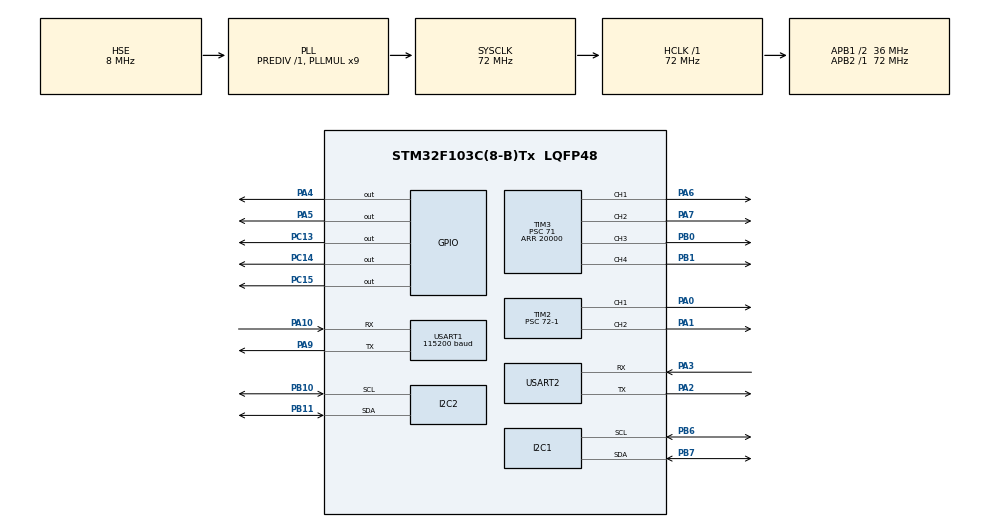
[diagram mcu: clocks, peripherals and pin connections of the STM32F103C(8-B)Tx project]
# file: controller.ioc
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Dma.Request0=USART1_RX
Dma.Request1=USART2_RX
Dma.USART1_RX.0.Direction=DMA_PERIPH_TO_MEMORY
Dma.USART1_RX.0.Instance=DMA1_Channel5
Dma.USART1_RX.0.MemDataAlignment=DMA_MDATAALIGN_BYTE
Dma.USART1_RX.0.MemInc=DMA_MINC_ENABLE
Dma.USART1_RX.0.Mode=DMA_NORMAL
Dma.USART1_RX.0.PeriphDataAlignment=DMA_PDATAALIGN_BYTE
Dma.USART1_RX.0.PeriphInc=DMA_PINC_DISABLE
Dma.USART1_RX.0.Priority=DMA_PRIORITY_MEDIUM
Dma.USART2_RX.1.Direction=DMA_PERIPH_TO_MEMORY
Dma.USART2_RX.1.Instance=DMA1_Channel6
Dma.USART2_RX.1.MemDataAlignment=DMA_MDATAALIGN_BYTE
Dma.USART2_RX.1.MemInc=DMA_MINC_ENABLE
Dma.USART2_RX.1.Mode=DMA_NORMAL
Dma.USART2_RX.1.PeriphDataAlignment=DMA_PDATAALIGN_BYTE
Dma.USART2_RX.1.PeriphInc=DMA_PINC_DISABLE
Dma.USART2_RX.1.Priority=DMA_PRIORITY_MEDIUM
Mcu.Family=STM32F1
Mcu.Name=STM32F103C(8-B)Tx
Mcu.Package=LQFP48
NVIC.DMA1_Channel5_IRQn=true\:0\:0\:false\:false\:true\:false\:true\:true
NVIC.DMA1_Channel6_IRQn=true\:0\:0\:false\:false\:true\:false\:true\:true
NVIC.I2C1_ER_IRQn=true\:0\:0\:false\:false\:true\:true\:true\:true
NVIC.I2C1_EV_IRQn=true\:0\:0\:false\:false\:true\:true\:true\:true
NVIC.I2C2_ER_IRQn=true\:0\:0\:false\:false\:true\:true\:true\:true
NVIC.I2C2_EV_IRQn=true\:0\:0\:false\:false\:true\:true\:true\:true
NVIC.PriorityGroup=NVIC_PRIORITYGROUP_4
NVIC.TIM4_IRQn=true\:0\:0\:false\:false\:true\:true\:true\:true
NVIC.USART1_IRQn=true\:0\:0\:false\:false\:true\:true\:true\:true
PA0-WKUP.Signal=S_TIM2_CH1_ETR
PA1.Signal=S_TIM2_CH2
PA10.Mode=Asynchronous
PA10.Signal=USART1_RX
PA13.Mode=Serial_Wire
PA13.Signal=SYS_JTMS-SWDIO
PA14.Mode=Serial_Wire
PA14.Signal=SYS_JTCK-SWCLK
PA2.Mode=Asynchronous
PA2.Signal=USART2_TX
PA3.Mode=Asynchronous
PA3.Signal=USART2_RX
PA4.Signal=GPIO_Output
PA5.Signal=GPIO_Output
PA6.Signal=S_TIM3_CH1
PA7.Signal=S_TIM3_CH2
PA9.Mode=Asynchronous
PA9.Signal=USART1_TX
PB0.Signal=S_TIM3_CH3
PB1.Signal=S_TIM3_CH4
PB10.Mode=I2C
PB10.Signal=I2C2_SCL
PB11.Mode=I2C
PB11.Signal=I2C2_SDA
PB6.Mode=I2C
PB6.Signal=I2C1_SCL
PB7.Mode=I2C
PB7.Signal=I2C1_SDA
PC13-TAMPER-RTC.Signal=GPIO_Output
PC14-OSC32_IN.Signal=GPIO_Output
PC15-OSC32_OUT.Signal=GPIO_Output
PD0-OSC_IN.Mode=HSE-External-Oscillator
PD0-OSC_IN.Signal=RCC_OSC_IN
PD1-OSC_OUT.Mode=HSE-External-Oscillator
PD1-OSC_OUT.Signal=RCC_OSC_OUT
ProjectManager.HeapSize=0x200
ProjectManager.StackSize=0x400
ProjectManager.TargetToolchain=STM32CubeIDE
RCC.AHBFreq_Value=72000000
RCC.APB1CLKDivider=RCC_HCLK_DIV2
RCC.APB1Freq_Value=36000000
RCC.APB1TimFreq_Value=72000000
RCC.APB2Freq_Value=72000000
RCC.APB2TimFreq_Value=72000000
RCC.HCLKFreq_Value=72000000
RCC.PLLMUL=RCC_PLL_MUL9
RCC.PLLSourceVirtual=RCC_PLLSOURCE_HSE
RCC.SYSCLKFreq_VALUE=72000000
RCC.SYSCLKSource=RCC_SYSCLKSOURCE_PLLCLK
RCC.USBFreq_Value=72000000
SH.S_TIM2_CH1_ETR.0=TIM2_CH1,PWM Generation1 CH1
SH.S_TIM2_CH2.0=TIM2_CH2,PWM Generation2 CH2
SH.S_TIM3_CH1.0=TIM3_CH1,PWM Generation1 CH1
SH.S_TIM3_CH2.0=TIM3_CH2,PWM Generation2 CH2
SH.S_TIM3_CH3.0=TIM3_CH3,PWM Generation3 CH3
SH.S_TIM3_CH4.0=TIM3_CH4,PWM Generation4 CH4
TIM1.Channel-PWM\ Generation2\ CH2=TIM_CHANNEL_2
TIM1.Channel-PWM\ Generation3\ CH3=TIM_CHANNEL_3
TIM1.Period=20000
TIM1.Prescaler=72-1
TIM2.AutoReloadPreload=TIM_AUTORELOAD_PRELOAD_ENABLE
TIM2.Channel-PWM\ Generation1\ CH1=TIM_CHANNEL_1
TIM2.Channel-PWM\ Generation2\ CH2=TIM_CHANNEL_2
TIM2.Period=1000-1
TIM2.Prescaler=72-1
TIM3.Channel-PWM\ Generation1\ CH1=TIM_CHANNEL_1
TIM3.Channel-PWM\ Generation2\ CH2=TIM_CHANNEL_2
TIM3.Channel-PWM\ Generation3\ CH3=TIM_CHANNEL_3
TIM3.Channel-PWM\ Generation4\ CH4=TIM_CHANNEL_4
TIM3.Period=20000
TIM3.Prescaler=71
TIM4.Period=999
TIM4.Prescaler=71
USART1.BaudRate=115200
USART1.VirtualMode=VM_ASYNC
USART2.VirtualMode=VM_ASYNC
VP_TIM1_VS_ClockSourceINT.Mode=Internal
VP_TIM2_VS_ClockSourceINT.Mode=Internal
VP_TIM4_VS_ClockSourceINT.Mode=Internal
board=custom

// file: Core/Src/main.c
/* USER CODE BEGIN Header */
/**
 ******************************************************************************
 * @file           : main.c
 * @brief          : STM32 Drone Flight Controller (Final Stable Version)
 ******************************************************************************
 */
/* USER CODE END Header */
#include "main.h"
#include "dma.h"
#include "i2c.h"
#include "tim.h"
#include "usart.h"
#include "gpio.h"

/* USER CODE BEGIN Includes */
#include <stdio.h>
#include "string.h"
#include <stdint.h>
#include <stdlib.h>
#include <math.h>
#include <inttypes.h>
#include <stdatomic.h>
#include <stdbool.h>

float vz_pid_integ = 0.0f;
float vz_pid_prev_err = 0.0f;

// 硬體定義
#define PCA9685_ADDR 0x80
#define BMX160_ADDR  (0x68u << 1)
#define MODE1 0x00
#define PRESCALE 0xFE
#define LED0_ON_L 0x06
#define PWM_MIN 1000
#define PWM_MAX 2000

// 全域旗標
volatile uint8_t i2c2_busy = 0;
volatile uint8_t data_ready_flag = 0;
volatile uint8_t cmd_received_flag = 0;
static uint32_t last_cmd_time = 0;

// 緩衝區
#define RX_BUF_SIZE 64
#define ALT_BUF_SIZE 128
uint8_t rx_buffer[RX_BUF_SIZE];
uint8_t rx_alt_buffer[ALT_BUF_SIZE];
char cmd_string[RX_BUF_SIZE];
char alt_data_str[ALT_BUF_SIZE];
static uint8_t imu_buf[20];

// 結構體
typedef struct {
	uint32_t t_ms;
	int16_t ax, ay, az;
	int16_t gx, gy, gz;
	int16_t mx, my, mz;
} imu_sample_t;

typedef struct {
	float angle;
	float bias;
	float P[2][2];
	float Q_angle;
	float Q_bias;
	float R_meas;
} Kalman_t;

typedef struct {
	float roll;
	float pitch;
	float yaw;
	bool biasLocked;
} AHRS_State_t;

typedef struct {
	float xm_1[3];
	float xm_2[3];
	float e_integral[3];
	float prev_error[3];
	float Kp[3];
	float Ki[3];
	float Kd[3];
} MRAC_State_t;

// 全域變數
static volatile imu_sample_t g_latest;
static Kalman_t KF_Roll, KF_Pitch, KF_Yaw;
static AHRS_State_t current_att;
static MRAC_State_t mrac_state;

// 物理參數
#define DRONE_MASS_KG   2.0f
#define GRAVITY_ACCEL   9.81f
#define MAX_THRUST_N    29.42f
#define MIN_THRUST_N    0.0f
#define ACC_LSB_PER_G   16384.0f
#define GYR_LSB_PER_DPS 16.4f

const float IX = 0.0095f;
const float IY = 0.0095f;
const float IZ = 0.0190f;

// 馬達參數
const float MOTOR_M[4] = { 964.308f, 958.89f, 986.08f, 959.01f };
const float MOTOR_C[4] = { -21.41f, -212.51f, -217.69f, -210.12f };

// 混合矩陣參數
const float MIX_A = 0.25f;
const float MIX_B = 0.25f / 0.13505f;
const float MIX_C = 0.25f / 0.08257f;
const float MIX_D = 0.25f / 0.019677f;

// 控制變數
char modetype[15];
float g_rc_roll_stick = 0.0f;
float g_rc_pitch_stick = 0.0f;
float g_rc_throttle_stick = 0.0f;

float g_est_vx = 0.0f, g_est_vy = 0.0f; // 速度估測

volatile int32_t distance_mm = 0;
float estimated_z = 0.0f, estimated_vz = 0.0f;
float target_vz = 0.0f, current_lock_height = 0.0f;

float g_cmd_phi_rad = 0.0f, g_cmd_theta_rad = 0.0f;
float target_roll = 0.0f, target_pitch = 0.0f, target_yaw = 0.0f;
float g_target_rate[3];
float g_u_vec[3];

// 濾波變數
static float last_gx = 0, last_gy = 0, last_gz = 0;
static float gx_sum = 0, gy_sum = 0, gz_sum = 0;
static float b_gx = 0, b_gy = 0, b_gz = 0;
static int bias_counter = 0;
static float roll_offset = 0, pitch_offset = 0, yaw_offset = 0;

// MRAC 參數
const float MRAC_WN[3] = { 10.0f, 5.0f, 5.0f };
const float MRAC_ZETA[3] = { 0.707f, 0.707f, 0.707f };
const float GAM_P[3] = { 0.01f, 0.01f, 0.01f };
const float GAM_I[3] = { 0.01f, 0.01f, 0.01f };
const float GAM_D[3] = { 0.001f, 0.001f, 0.001f };
const float KP_INIT[3] = {80.0f, 80.0f, 10.0f};
const float KI_INIT[3] = {150.0f, 150.0f, 0.1f};
const float KD_INIT[3] = {0.2f, 0.2f, 0.05f};
const float KP_MAX[3] = { 10000.0f, 10000.0f, 10000.0f };
const float KP_MIN[3] = { 0.01f, 0.01f, 0.01f };
const float KI_MAX[3] = { 10000.0f, 10000.0f, 10000.0f };
const float KI_MIN[3] = { 0.0f, 0.0f, 0.0f };
const float KD_MAX[3] = { 1000.0f, 1000.0f, 500.0f };
const float KD_MIN[3] = { 0.0f, 0.0f, 0.0f };

// 高度參數
#define ALT_DEADZONE 0.02f
#define MAX_CLIMB_RATE 2.0f
#define KP_Z_OUTER 1.0f
#define VZ_KP 2.0f
#define VZ_KI 1.0f
#define VZ_KD 0.0f

// Handles
extern I2C_HandleTypeDef hi2c1;
extern I2C_HandleTypeDef hi2c2;
extern UART_HandleTypeDef huart1;
extern UART_HandleTypeDef huart2;
extern TIM_HandleTypeDef htim1;
extern TIM_HandleTypeDef htim2;
extern TIM_HandleTypeDef htim3;
extern TIM_HandleTypeDef htim4;

/* USER CODE END PV */

void SystemClock_Config(void);
/* USER CODE BEGIN PFP */
void MX_USART1_UART_Init(void);
void MX_USART2_UART_Init(void);
/* USER CODE END PFP */

/* USER CODE BEGIN 0 */
static float wrapTo180(float angle) {
	while (angle > 180.0f)
		angle -= 360.0f;
	while (angle < -180.0f)
		angle += 360.0f;
	return angle;
}
float fconstrain(float val, float min, float max) {
	if (val > max)
		return max;
	if (val < min)
		return min;
	return val;
}
float LowPassFilter(float new_val, float prev_val, float dt, float cutoff_freq) {
	float rc = 1.0f / (6.2831853f * cutoff_freq);
	float alpha = dt / (rc + dt);
	return prev_val + alpha * (new_val - prev_val);
}

// 初始化函式
void PCA9685_Init(I2C_HandleTypeDef *hi2c) {
	uint8_t d[2];
	d[0] = MODE1;
	d[1] = 0x00;
	HAL_I2C_Master_Transmit(hi2c, PCA9685_ADDR, d, 2, 100);
	HAL_Delay(10);
	d[0] = MODE1;
	d[1] = 0x10;
	HAL_I2C_Master_Transmit(hi2c, PCA9685_ADDR, d, 2, 100);
	d[0] = PRESCALE;
	d[1] = 121;
	HAL_I2C_Master_Transmit(hi2c, PCA9685_ADDR, d, 2, 100);
	d[0] = MODE1;
	d[1] = 0x00;
	HAL_I2C_Master_Transmit(hi2c, PCA9685_ADDR, d, 2, 100);
	HAL_Delay(5);
	d[0] = MODE1;
	d[1] = 0x20;
	HAL_I2C_Master_Transmit(hi2c, PCA9685_ADDR, d, 2, 100);
}
void PCA9685_SetPWM(I2C_HandleTypeDef *hi2c, uint8_t channel, uint16_t on,
		uint16_t off) {
	uint8_t data[5];
	data[0] = LED0_ON_L + 4 * channel;
	data[1] = on & 0xFF;
	data[2] = on >> 8;
	data[3] = off & 0xFF;
	data[4] = off >> 8;
	HAL_I2C_Master_Transmit(hi2c, PCA9685_ADDR, data, 5, HAL_MAX_DELAY);
}
void PCA9685_SetServoAngle(I2C_HandleTypeDef *hi2c, uint8_t channel,
		float angle) {
	uint16_t pulse = 205 + (uint16_t) (angle / 180.0f * 205.0f);
	PCA9685_SetPWM(hi2c, channel, 0, pulse);
}
void ESC_SetPWM(uint32_t Channel, uint16_t us) {
	__HAL_TIM_SET_COMPARE(&htim3, Channel, us);
}
void ESC_Calibrate(void) {
	HAL_TIM_PWM_Start(&htim3, TIM_CHANNEL_1);
	HAL_TIM_PWM_Start(&htim3, TIM_CHANNEL_2);
	HAL_TIM_PWM_Start(&htim3, TIM_CHANNEL_3);
	HAL_TIM_PWM_Start(&htim3, TIM_CHANNEL_4);
	ESC_SetPWM(TIM_CHANNEL_1, 2000);
	ESC_SetPWM(TIM_CHANNEL_2, 2000);
	ESC_SetPWM(TIM_CHANNEL_3, 2000);
	ESC_SetPWM(TIM_CHANNEL_4, 2000);
	HAL_Delay(3000);
	ESC_SetPWM(TIM_CHANNEL_1, 1000);
	ESC_SetPWM(TIM_CHANNEL_2, 1000);
	ESC_SetPWM(TIM_CHANNEL_3, 1000);
	ESC_SetPWM(TIM_CHANNEL_4, 1000);
	HAL_Delay(3000);
}
void BMX160_EnableSensors(I2C_HandleTypeDef *hi2c) {
	uint8_t d[2];
	d[0] = 0x7E;
	d[1] = 0xB6;
	HAL_I2C_Master_Transmit(hi2c, BMX160_ADDR, d, 2, 100);
	HAL_Delay(100);
	d[0] = 0x7E;
	d[1] = 0x11;
	HAL_I2C_Master_Transmit(hi2c, BMX160_ADDR, d, 2, 100);
	HAL_Delay(50);
	d[0] = 0x7E;
	d[1] = 0x15;
	HAL_I2C_Master_Transmit(hi2c, BMX160_ADDR, d, 2, 100);
	HAL_Delay(50);
	d[0] = 0x7E;
	d[1] = 0x19;
	HAL_I2C_Master_Transmit(hi2c, BMX160_ADDR, d, 2, 100);
	HAL_Delay(10);
	d[0] = 0x44;
	d[1] = 0x05;
	HAL_I2C_Master_Transmit(hi2c, BMX160_ADDR, d, 2, 100);
	d[0] = 0x4C;
	d[1] = 0x80;
	HAL_I2C_Master_Transmit(hi2c, BMX160_ADDR, d, 2, 100);
	d[0] = 0x4F;
	d[1] = 0x01;
	HAL_I2C_Master_Transmit(hi2c, BMX160_ADDR, d, 2, 100);
	d[0] = 0x4E;
	d[1] = 0x4B;
	HAL_I2C_Master_Transmit(hi2c, BMX160_ADDR, d, 2, 100);
	d[0] = 0x4F;
	d[1] = 0x00;
	HAL_I2C_Master_Transmit(hi2c, BMX160_ADDR, d, 2, 100);
	d[0] = 0x4E;
	d[1] = 0x4C;
	HAL_I2C_Master_Transmit(hi2c, BMX160_ADDR, d, 2, 100);
	d[0] = 0x4E;
	d[1] = 0x42;
	HAL_I2C_Master_Transmit(hi2c, BMX160_ADDR, d, 2, 100);
	d[0] = 0x4C;
	d[1] = 0x00;
	HAL_I2C_Master_Transmit(hi2c, BMX160_ADDR, d, 2, 100);
	HAL_Delay(50);
}
void MotorLeft_SetSpeed(uint8_t speed_percent) {
	if (speed_percent > 100)
		speed_percent = 100;
	__HAL_TIM_SET_COMPARE(&htim2, TIM_CHANNEL_1, speed_percent * 10);
}
void MotorRight_SetSpeed(uint8_t speed_percent) {
	if (speed_percent > 100)
		speed_percent = 100;
	__HAL_TIM_SET_COMPARE(&htim2, TIM_CHANNEL_2, speed_percent * 10);
}
void Motor_SetDirection(uint8_t dir, int velocity) {
	MotorLeft_SetSpeed(velocity);
	MotorRight_SetSpeed(velocity);
	HAL_GPIO_WritePin(GPIOA, GPIO_PIN_4, (dir == 3 || dir == 4));
	HAL_GPIO_WritePin(GPIOA, GPIO_PIN_5, (dir == 1 || dir == 2));
	HAL_GPIO_WritePin(GPIOC, GPIO_PIN_14, (dir == 1 || dir == 2));
	HAL_GPIO_WritePin(GPIOC, GPIO_PIN_15, (dir == 3 || dir == 4));
	if (dir == 0) { // Stop
		HAL_GPIO_WritePin(GPIOA, GPIO_PIN_4, 0);
		HAL_GPIO_WritePin(GPIOA, GPIO_PIN_5, 0);
		HAL_GPIO_WritePin(GPIOC, GPIO_PIN_14, 0);
		HAL_GPIO_WritePin(GPIOC, GPIO_PIN_15, 0);
	}
}

// 控制邏輯
void Kalman_Init(Kalman_t *kf, float q_ang, float q_bias, float r) {
	kf->angle = 0;
	kf->bias = 0;
	kf->Q_angle = q_ang;
	kf->Q_bias = q_bias;
	kf->R_meas = r;
	kf->P[0][0] = 0.1f;
	kf->P[0][1] = 0;
	kf->P[1][0] = 0;
	kf->P[1][1] = 0.1f;
}
void MRAC_Init(void) {
	for (int i = 0; i < 3; i++) {
		mrac_state.xm_1[i] = 0;
		mrac_state.xm_2[i] = 0;
		mrac_state.e_integral[i] = 0;
		mrac_state.prev_error[i] = 0;
		mrac_state.Kp[i] = KP_INIT[i];
		mrac_state.Ki[i] = KI_INIT[i];
		mrac_state.Kd[i] = KD_INIT[i];
	}
}
void Estimate_Horizontal_Velocity(int16_t ax_raw, int16_t ay_raw,
		float roll_deg, float pitch_deg, float dt) {
	float ax_g = ax_raw / ACC_LSB_PER_G;
	float ay_g = ay_raw / ACC_LSB_PER_G;
	float rad_roll = roll_deg * 0.0174533f;
	float rad_pitch = pitch_deg * 0.0174533f;
	float acc_motion_x = (ax_g - (-sinf(rad_pitch))) * 9.81f;
	float acc_motion_y = (ay_g - (sinf(rad_roll))) * 9.81f;
	if (fabsf(acc_motion_x) < 0.2f)
		acc_motion_x = 0;
	if (fabsf(acc_motion_y) < 0.2f)
		acc_motion_y = 0;
	g_est_vx += acc_motion_x * dt;
	g_est_vy += acc_motion_y * dt;
	g_est_vx *= 0.99f;
	g_est_vy *= 0.99f;
}
void Kalman_Step(Kalman_t *kf, float gyro_rate, float meas_angle, float dt,
bool useMeas) {
	float rate = gyro_rate - kf->bias;
	kf->angle += rate * dt;
	kf->angle = wrapTo180(kf->angle);
	float P00 = kf->P[0][0], P01 = kf->P[0][1], P10 = kf->P[1][0], P11 =
			kf->P[1][1];
	kf->P[0][0] = P00 - dt * (P10 + P01) + dt * dt * P11 + kf->Q_angle;
	kf->P[0][1] = P01 - dt * P11;
	kf->P[1][0] = P10 - dt * P11;
	kf->P[1][1] = P11 + kf->Q_bias;
	if (useMeas) {
		float y = wrapTo180(meas_angle - kf->angle);
		float S = kf->P[0][0] + kf->R_meas;
		float K0 = kf->P[0][0] / S, K1 = kf->P[1][0] / S;
		kf->angle += K0 * y;
		kf->bias += K1 * y;
		kf->angle = wrapTo180(kf->angle);
		float P00_t = kf->P[0][0], P01_t = kf->P[0][1];
		kf->P[0][0] -= K0 * P00_t;
		kf->P[0][1] -= K0 * P01_t;
		kf->P[1][0] -= K1 * P00_t;
		kf->P[1][1] -= K1 * P01_t;
	}
}
void AHRS_Update(float ax_raw, float ay_raw, float az_raw, float gx_raw,
		float gy_raw, float gz_raw, float mx_raw, float my_raw, float mz_raw,
		float dt) {
	float ax = ax_raw / ACC_LSB_PER_G, ay = ay_raw / ACC_LSB_PER_G, az = az_raw
			/ ACC_LSB_PER_G;
	float gx = gx_raw / GYR_LSB_PER_DPS, gy = gy_raw / GYR_LSB_PER_DPS, gz =
			gz_raw / GYR_LSB_PER_DPS;
	if (!current_att.biasLocked) {
		gx_sum += gx;
		gy_sum += gy;
		gz_sum += gz;
		bias_counter++;
		if (bias_counter >= 300) {
			b_gx = gx_sum / bias_counter;
			b_gy = gy_sum / bias_counter;
			b_gz = gz_sum / bias_counter;
			current_att.biasLocked = true;
			KF_Roll.bias = b_gx;
			KF_Pitch.bias = b_gy;
			KF_Yaw.bias = b_gz;
		}
		return;
	}
	float gx_c = gx - b_gx, gy_c = gy - b_gy, gz_c = gz - b_gz;
	float roll_acc = atan2f(ay, az) * 57.29578f;
	float pitch_acc = atan2f(-ax, sqrtf(ay * ay + az * az)) * 57.29578f;
	bool useAcc = fabsf(sqrtf(ax * ax + ay * ay + az * az) - 1.0f) < 0.5f;
	Kalman_Step(&KF_Roll, gx_c, roll_acc, dt, useAcc);
	Kalman_Step(&KF_Pitch, gy_c, pitch_acc, dt, useAcc);
	KF_Yaw.angle += gz_c * dt;
	current_att.roll = wrapTo180(KF_Roll.angle - roll_offset);
	current_att.pitch = wrapTo180(KF_Pitch.angle - pitch_offset);
	current_att.yaw = wrapTo180(KF_Yaw.angle - yaw_offset);
}
void AHRS_SetOrigin(void) {
	roll_offset = KF_Roll.angle;
	pitch_offset = KF_Pitch.angle;
	yaw_offset = KF_Yaw.angle;
}

void XY_Logic_Controller_Update(float roll_stick, float pitch_stick, float vx,
		float vy) {
	float theta_cmd = 0, phi_cmd = 0;
	if (fabsf(pitch_stick) > 0.02f)
		theta_cmd = pitch_stick * 0.5f;
	else
		theta_cmd = (0.0f - vx) * 0.2f;

	if (fabsf(roll_stick) > 0.02f)
		phi_cmd = -1.0f * roll_stick * 0.5f;
	else
		phi_cmd = (0.0f - vy) * 0.2f * -1.0f;
	g_cmd_theta_rad = fconstrain(theta_cmd, -0.5f, 0.5f);
	g_cmd_phi_rad = fconstrain(phi_cmd, -0.5f, 0.5f);
}

void MRAC_Compute(float cmd_roll, float cmd_pitch, float cmd_yaw, float gx,
		float gy, float gz, float dt) {
	float cmd[3] = { cmd_roll, cmd_pitch, cmd_yaw };
	float act[3] = { gx, gy, gz };
	for (int i = 0; i < 3; i++) {
		float u_model = MRAC_WN[i] * MRAC_WN[i] * cmd[i];
		float dxm2 = -2.0f * MRAC_ZETA[i] * MRAC_WN[i] * mrac_state.xm_2[i]
				- MRAC_WN[i] * MRAC_WN[i] * mrac_state.xm_1[i] + u_model;
		mrac_state.xm_2[i] += dxm2 * dt;
		mrac_state.xm_1[i] += mrac_state.xm_2[i] * dt;
		float e_track = act[i] - mrac_state.xm_1[i];
		float e_ctrl = cmd[i] - act[i];
		mrac_state.e_integral[i] = fconstrain(
				mrac_state.e_integral[i] + e_ctrl * dt, -10, 10);
		float phi_d = (e_ctrl - mrac_state.prev_error[i]) / dt;
		mrac_state.prev_error[i] = e_ctrl;
		mrac_state.Kp[i] = fconstrain(
				mrac_state.Kp[i] - GAM_P[i] * e_track * e_ctrl * dt, KP_MIN[i],
				KP_MAX[i]);
		mrac_state.Ki[i] = fconstrain(
				mrac_state.Ki[i]
						- GAM_I[i] * e_track * mrac_state.e_integral[i] * dt,
				KI_MIN[i], KI_MAX[i]);
		mrac_state.Kd[i] = fconstrain(
				mrac_state.Kd[i] - GAM_D[i] * e_track * phi_d * dt, KD_MIN[i],
				KD_MAX[i]);
		g_u_vec[i] = mrac_state.Kp[i] * e_ctrl
				+ mrac_state.Ki[i] * mrac_state.e_integral[i]
				+ mrac_state.Kd[i] * phi_d;
	}
}

void Height_estimator(int16_t acc_z_raw, int32_t baro_mm, float phi,
		float theta, float dt) {
	float acc_z = ((float) acc_z_raw / ACC_LSB_PER_G) * 9.81f;
	float alt_m = (float) baro_mm / 1000.0f;
	float acc_earth = (acc_z * cosf(phi * 0.017f) * cosf(theta * 0.017f))
			- 9.81f;
	float z_pred = estimated_z + estimated_vz * dt;
	float vz_pred = estimated_vz + acc_earth * dt;
	float z_err = alt_m - z_pred;
	estimated_z = z_pred + 2.0f * z_err * dt;
	estimated_vz = vz_pred + 0.2f * z_err * dt;
}

void Alt_Logic(float stick, float dt) {
	if (fabsf(stick) > ALT_DEADZONE) {
		target_vz = stick * MAX_CLIMB_RATE;
		current_lock_height = estimated_z;
	} else {
		float err = current_lock_height - estimated_z;
		target_vz = fconstrain(err * KP_Z_OUTER, -MAX_CLIMB_RATE,
		MAX_CLIMB_RATE);
	}
}

float Vel_PID(float target, float current, float dt) {
	float err = target - current;
	vz_pid_integ = fconstrain(vz_pid_integ + VZ_KI * err * dt, -10, 10);
	float d = (err - vz_pid_prev_err) / dt;
	vz_pid_prev_err = err;
	float acc_cmd = VZ_KP * err + vz_pid_integ + VZ_KD * d;
	float force = acc_cmd * DRONE_MASS_KG + DRONE_MASS_KG * 9.81f;
	return fconstrain(force, MIN_THRUST_N, MAX_THRUST_N);
}

void Control_Mixer_Advanced(float U1, float U2, float U3, float U4) {
	float T[4];
	T[0] = MIX_A * U1 + MIX_B * U2 - MIX_C * U3 + MIX_D * U4;
	T[1] = MIX_A * U1 - MIX_B * U2 + MIX_C * U3 + MIX_D * U4;
	T[2] = MIX_A * U1 - MIX_B * U2 - MIX_C * U3 - MIX_D * U4;
	T[3] = MIX_A * U1 + MIX_B * U2 + MIX_C * U3 - MIX_D * U4;

	float max_t = T[0];
	for (int i = 1; i < 4; i++)
		if (T[i] > max_t)
			max_t = T[i];
	float excess = max_t - MAX_THRUST_N;
	if (excess > 0)
		for (int i = 0; i < 4; i++)
			T[i] -= excess;
	for (int i = 0; i < 4; i++)
		T[i] = fconstrain(T[i], 0, MAX_THRUST_N);

	uint16_t pwm[4];
	for (int i = 0; i < 4; i++) {
		float g_force = (T[i] / 9.81f) * 1000.0f;
		float ratio =
				(MOTOR_M[i] != 0) ? (g_force - MOTOR_C[i]) / MOTOR_M[i] : 0;
		pwm[i] = (uint16_t) (1000 + fconstrain(ratio, 0, 1) * 1000);
	}
	ESC_SetPWM(TIM_CHANNEL_1, pwm[0]);
	ESC_SetPWM(TIM_CHANNEL_2, pwm[1]);
	ESC_SetPWM(TIM_CHANNEL_3, pwm[2]);
	ESC_SetPWM(TIM_CHANNEL_4, pwm[3]);
	char dbg[64];
	    int len = snprintf(dbg, sizeof(dbg),
	                       "PWM: %u %u %u %u\r\n",
	                       (unsigned)pwm[0],
	                       (unsigned)pwm[1],
	                       (unsigned)pwm[2],
	                       (unsigned)pwm[3]);
	    HAL_UART_Transmit(&huart1, (uint8_t*)dbg, len, 50);
}
/* USER CODE END 0 */

int main(void) {
	/* USER CODE BEGIN 1 */
	Kalman_Init(&KF_Roll, 0.001f, 0.003f, 0.25f);
	Kalman_Init(&KF_Pitch, 0.001f, 0.003f, 0.25f);
	Kalman_Init(&KF_Yaw, 0.001f, 0.003f, 4.0f);
	current_att.biasLocked = false;
	/* USER CODE END 1 */

	/* MCU Configuration */
	HAL_Init();
	SystemClock_Config();
	MX_GPIO_Init();
	MX_DMA_Init();
	MX_I2C1_Init();
	MX_TIM1_Init();
	MX_TIM4_Init();
	MX_TIM2_Init();
	MX_USART2_UART_Init();
	MX_I2C2_Init();
	MX_TIM3_Init();
	MX_USART1_UART_Init();

	/* USER CODE BEGIN 2 */
	HAL_TIM_PWM_Start(&htim2, TIM_CHANNEL_1);
	HAL_TIM_PWM_Start(&htim2, TIM_CHANNEL_2);
	PCA9685_Init(&hi2c1);
	MRAC_Init();
	HAL_Delay(100);
	BMX160_EnableSensors(&hi2c2);
	ESC_Calibrate();

	// 啟動 DMA 接收
	HAL_UARTEx_ReceiveToIdle_DMA(&huart1, rx_buffer, RX_BUF_SIZE);
	HAL_UARTEx_ReceiveToIdle_DMA(&huart2, rx_alt_buffer, ALT_BUF_SIZE);

	HAL_TIM_Base_Start_IT(&htim4); // 開始 IMU 採樣
	strcpy(modetype, "stop");
	/* USER CODE END 2 */

	/* USER CODE BEGIN WHILE */
	uint32_t last_led_time = 0;
	uint32_t last_telemetry_time = 0;
	uint32_t last_ahrs_tick = 0;

	while (1) {
		// 指令處理
		if (cmd_received_flag) {
			cmd_received_flag = 0;
			last_cmd_time = HAL_GetTick();

			// 先處理STOP 指令
			if (strstr(cmd_string, "fly_stop")
					|| strcmp(cmd_string, "stop") == 0) {

				// 離開飛行模式
				strcpy(modetype, "stop");
				ESC_SetPWM(TIM_CHANNEL_1, 1000);
				ESC_SetPWM(TIM_CHANNEL_2, 1000);
				ESC_SetPWM(TIM_CHANNEL_3, 1000);
				ESC_SetPWM(TIM_CHANNEL_4, 1000);

				// 清搖桿
				g_rc_roll_stick = 0.0f;
				g_rc_pitch_stick = 0.0f;
				g_rc_throttle_stick = 0.0f;

				// 重置 MRAC 狀態
				MRAC_Init();

				// 高度估測重抓基準
				vz_pid_integ = 0.0f;
				vz_pid_prev_err = 0.0f;
				estimated_vz = 0.0f;
				estimated_z = (float) distance_mm / 1000.0f;
				current_lock_height = estimated_z;

			}

			// AHRS 歸零
			else if (cmd_string[0] == 'z') {
				AHRS_SetOrigin();
			}

			// 飛行指令
			else if (strncmp(cmd_string, "fly", 3) == 0) {

				// 展開機構
				if (strstr(cmd_string, "fly_mode")) {
					PCA9685_SetServoAngle(&hi2c1, 0, 0);
					PCA9685_SetServoAngle(&hi2c1, 1, 33);
					HAL_Delay(1000);
					PCA9685_SetServoAngle(&hi2c1, 2, 173);
					PCA9685_SetServoAngle(&hi2c1, 4, 30);
					PCA9685_SetServoAngle(&hi2c1, 3, 160);
					PCA9685_SetServoAngle(&hi2c1, 5, 10);
				}

				// 水平移動
				if (strstr(cmd_string, "fly_forward")) {
					g_rc_pitch_stick = 0.4f;
					strcpy(modetype, "fly");
				} else if (strstr(cmd_string, "fly_backward")) {
					g_rc_pitch_stick = -0.4f;
					strcpy(modetype, "fly");
				} else if (strstr(cmd_string, "fly_right")) {
					g_rc_roll_stick = -0.4f;
					strcpy(modetype, "fly");
				} else if (strstr(cmd_string, "fly_left")) {
					g_rc_roll_stick = 0.4f;
					strcpy(modetype, "fly");
				}

				// 上下
				else if (strstr(cmd_string, "fly_up")) {
					g_rc_throttle_stick = 0.3f;
					strcpy(modetype, "fly");
				} else if (strstr(cmd_string, "fly_down")) {
					g_rc_throttle_stick = -0.3f;
					strcpy(modetype, "fly");
				}

				// 懸停 / 緩降
				else if (strstr(cmd_string, "fly_stay")) {
					g_rc_pitch_stick = 0.0f;
					g_rc_roll_stick = 0.0f;
					g_rc_throttle_stick = 0.0f;
					strcpy(modetype, "fly");
				} else if (strstr(cmd_string, "fly_ground")) {
					g_rc_pitch_stick = 0.0f;
					g_rc_roll_stick = 0.0f;
					g_rc_throttle_stick = -0.1f;
					strcpy(modetype, "fly");
				}
			}

			// 清空緩衝
			memset(cmd_string, 0, RX_BUF_SIZE);
		}

		// 失控保護
		if (HAL_GetTick() - last_cmd_time > 500) {
			if (strncmp(modetype, "fly", 3) == 0) {
				g_rc_roll_stick = 0;
				g_rc_pitch_stick = 0;
				g_rc_throttle_stick = 0;
				strcpy(modetype, "fly");
			}
		}

		// 飛控主迴路
		if (data_ready_flag) {
			data_ready_flag = 0;
			imu_sample_t s;
			__disable_irq();
			s = g_latest;
			__enable_irq();

			uint32_t now = HAL_GetTick();
			float dt = (now - last_ahrs_tick) / 1000.0f;
			last_ahrs_tick = now;
			if (dt <= 0)
				dt = 0.001f;

			AHRS_Update((float) s.ax, (float) s.ay, (float) s.az, (float) s.gx,
					(float) s.gy, (float) s.gz, (float) s.mx, (float) s.my,
					(float) s.mz, dt);

			if (strncmp(modetype, "fly", 3) == 0 && current_att.biasLocked) {
				// 速度估測
				Estimate_Horizontal_Velocity(s.ax, s.ay, current_att.roll,
						current_att.pitch, dt);

				// 邏輯控制
				XY_Logic_Controller_Update(g_rc_roll_stick, g_rc_pitch_stick,
						g_est_vx, g_est_vy);
				target_roll = g_cmd_phi_rad * 57.29578f;
				float pitch_trim = 3.0f;
				target_pitch = (g_cmd_theta_rad * 57.29578f) + pitch_trim;
				target_yaw = 0.0f;

				// 姿態控制
				float err_roll = target_roll - current_att.roll;
				float err_pitch = target_pitch - current_att.pitch;
				float err_yaw = target_yaw - current_att.yaw;
				g_target_rate[0] = err_roll * 0.01745f;
				g_target_rate[1] = err_pitch * 0.01745f;
				g_target_rate[2] = err_yaw * 0.01745f;

				// MRAC
				float gyr_x = LowPassFilter((s.gx/GYR_LSB_PER_DPS)*0.01745f, last_gx, dt, 8.0f);
				float gyr_y = LowPassFilter((s.gy/GYR_LSB_PER_DPS)*0.01745f, last_gy, dt, 8.0f);
				float gyr_z = LowPassFilter((s.gz/GYR_LSB_PER_DPS)*0.01745f, last_gz, dt, 8.0f);
				last_gx = gyr_x;
				last_gy = gyr_y;
				last_gz = gyr_z;

				MRAC_Compute(g_target_rate[0], g_target_rate[1],
						g_target_rate[2], gyr_x, gyr_y, gyr_z, dt);

				// 高度控制
				Height_estimator(s.az, distance_mm, current_att.roll,
						current_att.pitch, dt);
				Alt_Logic(g_rc_throttle_stick, dt);
				float U1 = Vel_PID(target_vz, estimated_vz, dt);

				// 翻機保護
				if (fabsf(current_att.roll) > 60
						|| fabsf(current_att.pitch) > 60) {
					U1 = 0;
					MRAC_Init();
				}

				// 輸出
				Control_Mixer_Advanced(U1, g_u_vec[0] * IX, g_u_vec[1] * IY,
						g_u_vec[2] * IZ);
			} else {
				// 非 Fly 模式強制停轉
				if (strncmp(modetype, "fly", 3) != 0) {
					ESC_SetPWM(TIM_CHANNEL_1, 1000);
					ESC_SetPWM(TIM_CHANNEL_2, 1000);
					ESC_SetPWM(TIM_CHANNEL_3, 1000);
					ESC_SetPWM(TIM_CHANNEL_4, 1000);
				}
			}

			// Telemetry
			if (now - last_telemetry_time > 200) {
				last_telemetry_time = now;
			}
		}

		if (HAL_GetTick() - last_led_time > 100) {
			HAL_GPIO_TogglePin(GPIOC, GPIO_PIN_13);
			last_led_time = HAL_GetTick();
		}
	}
	/* USER CODE END WHILE */
}

void SystemClock_Config(void) {
	RCC_OscInitTypeDef RCC_OscInitStruct = { 0 };
	RCC_ClkInitTypeDef RCC_ClkInitStruct = { 0 };
	RCC_OscInitStruct.OscillatorType = RCC_OSCILLATORTYPE_HSE;
	RCC_OscInitStruct.HSEState = RCC_HSE_ON;
	RCC_OscInitStruct.HSEPredivValue = RCC_HSE_PREDIV_DIV1;
	RCC_OscInitStruct.HSIState = RCC_HSI_ON;
	RCC_OscInitStruct.PLL.PLLState = RCC_PLL_ON;
	RCC_OscInitStruct.PLL.PLLSource = RCC_PLLSOURCE_HSE;
	RCC_OscInitStruct.PLL.PLLMUL = RCC_PLL_MUL9;
	if (HAL_RCC_OscConfig(&RCC_OscInitStruct) != HAL_OK)
		Error_Handler();
	RCC_ClkInitStruct.ClockType = RCC_CLOCKTYPE_HCLK | RCC_CLOCKTYPE_SYSCLK
			| RCC_CLOCKTYPE_PCLK1 | RCC_CLOCKTYPE_PCLK2;
	RCC_ClkInitStruct.SYSCLKSource = RCC_SYSCLKSOURCE_PLLCLK;
	RCC_ClkInitStruct.AHBCLKDivider = RCC_SYSCLK_DIV1;
	RCC_ClkInitStruct.APB1CLKDivider = RCC_HCLK_DIV2;
	RCC_ClkInitStruct.APB2CLKDivider = RCC_HCLK_DIV1;
	if (HAL_RCC_ClockConfig(&RCC_ClkInitStruct, FLASH_LATENCY_2) != HAL_OK)
		Error_Handler();
}

/* USER CODE BEGIN 4 */

void HAL_TIM_PeriodElapsedCallback(TIM_HandleTypeDef *htim) {
	if (htim->Instance == TIM4) {
		if (!i2c2_busy) {
			i2c2_busy = 1;
			HAL_I2C_Mem_Read_IT(&hi2c2,
			BMX160_ADDR, 0x04,
					I2C_MEMADD_SIZE_8BIT, imu_buf, 20);
		}
	}
}

// 中斷 Callback
void HAL_UARTEx_RxEventCallback(UART_HandleTypeDef *huart, uint16_t Size) {
	HAL_GPIO_TogglePin(GPIOC, GPIO_PIN_13);
	if (huart->Instance == USART1) { // 藍牙
		if (Size > RX_BUF_SIZE - 1)
			Size = RX_BUF_SIZE - 1;
		memcpy(cmd_string, rx_buffer, Size);
		cmd_string[Size] = '\0';
		memset(rx_buffer, 0, RX_BUF_SIZE);
		cmd_received_flag = 1;
		HAL_UARTEx_ReceiveToIdle_DMA(&huart1, rx_buffer, RX_BUF_SIZE);
	} else if (huart->Instance == USART2) { // 高度計
		if (Size > ALT_BUF_SIZE - 1)
			Size = ALT_BUF_SIZE - 1;
		memcpy(alt_data_str, rx_alt_buffer, Size);
		alt_data_str[Size] = '\0';
		memset(rx_alt_buffer, 0, ALT_BUF_SIZE);
		char *ptr = strchr(alt_data_str, 'd');
		if (ptr && strlen(ptr) > 2) {
			int val = 0;
			if (sscanf(ptr, "d:%d", &val) == 1
					|| sscanf(ptr, "d: %d", &val) == 1)
				distance_mm = val;
		}
		HAL_UARTEx_ReceiveToIdle_DMA(&huart2, rx_alt_buffer, ALT_BUF_SIZE);
	}
}

void HAL_UART_ErrorCallback(UART_HandleTypeDef *huart) {
	if (huart->Instance == USART1) {
		__HAL_UART_CLEAR_OREFLAG(huart);
		__HAL_UART_CLEAR_NEFLAG(huart);
		__HAL_UART_CLEAR_FEFLAG(huart);
		HAL_UARTEx_ReceiveToIdle_DMA(&huart1, rx_buffer, RX_BUF_SIZE);
	} else if (huart->Instance == USART2) {
		__HAL_UART_CLEAR_OREFLAG(huart);
		__HAL_UART_CLEAR_NEFLAG(huart);
		__HAL_UART_CLEAR_FEFLAG(huart);
		HAL_UARTEx_ReceiveToIdle_DMA(&huart2, rx_alt_buffer, ALT_BUF_SIZE);
	}
}

void HAL_I2C_MemRxCpltCallback(I2C_HandleTypeDef *hi2c) {
	if (hi2c == &hi2c2) {
		imu_sample_t s;
		s.t_ms = HAL_GetTick();
		s.mx = (int16_t) ((imu_buf[1] << 8) | imu_buf[0]);
		s.my = (int16_t) ((imu_buf[3] << 8) | imu_buf[2]);
		s.mz = (int16_t) ((imu_buf[5] << 8) | imu_buf[4]);
		s.gx = (int16_t) ((imu_buf[9] << 8) | imu_buf[8]);
		s.gy = (int16_t) ((imu_buf[11] << 8) | imu_buf[10]);
		s.gz = (int16_t) ((imu_buf[13] << 8) | imu_buf[12]);
		s.ax = (int16_t) ((imu_buf[15] << 8) | imu_buf[14]);
		s.ay = (int16_t) ((imu_buf[17] << 8) | imu_buf[16]);
		s.az = (int16_t) ((imu_buf[19] << 8) | imu_buf[18]);
		g_latest = s;
		data_ready_flag = 1;
		i2c2_busy = 0;
	}
}
void HAL_I2C_ErrorCallback(I2C_HandleTypeDef *hi2c) {
	if (hi2c == &hi2c2)
		i2c2_busy = 0;
}
void Error_Handler(void) {
	__disable_irq();
	while (1) {
	}
}
/* USER CODE END 4 */
